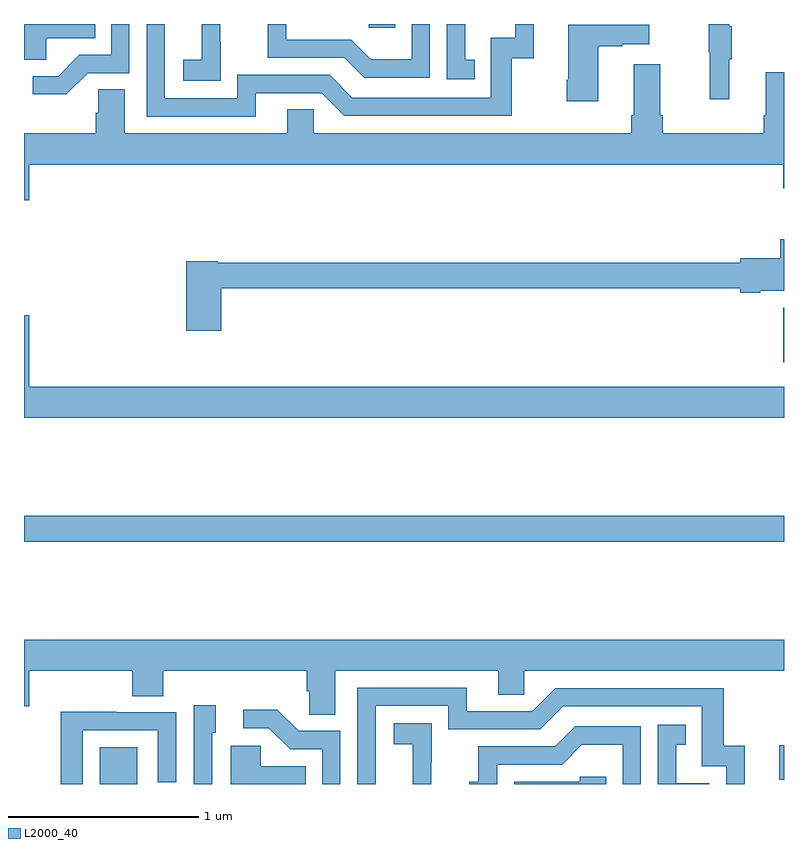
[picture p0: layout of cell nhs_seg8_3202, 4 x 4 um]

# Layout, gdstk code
import gdstk
lib = gdstk.Library(unit=1e-6, precision=1e-09)
def R(c, l, rs):  # rectangles x0, y0, x1, y1
    for r in rs: c.add(gdstk.rectangle(r[:2], r[2:], *l))
def P(c, l, *ps):  # polygons
    for p in ps: c.add(gdstk.Polygon(p, *l))
L2000_40 = (2000, 40)

nhs_seg8_3202 = lib.new_cell('nhs_seg8_3202')
R(nhs_seg8_3202, L2000_40, [(309.398,1119.9,309.595,1120.093), (312.974,1119.923,313,1120.105), (309,1121.176,313,1121.312), (312.995,1122.12,313,1122.406), (310.815,1123.881,310.955,1123.9)])
P(nhs_seg8_3202, L2000_40, [(309.336,1123.641),(309.555,1123.641),(309.555,1123.9),(309.459,1123.9),(309.459,1123.737),(309.29,1123.737),(309.179,1123.626),(309.045,1123.626),(309.045,1123.529),(309.223,1123.529)],
  [(311.372,1123.713),(311.323,1123.713),(311.323,1123.9),(311.226,1123.9),(311.226,1123.608),(311.372,1123.608)],
  [(312.713,1123.715),(312.724,1123.715),(312.724,1123.889),(312.713,1123.889),(312.713,1123.9),(312.603,1123.9),(312.603,1123.752),(312.61,1123.752),(312.61,1123.503),(312.713,1123.503)],
  [(310.219,1123.536),(310.566,1123.536),(310.686,1123.416),(311.566,1123.416),(311.566,1123.719),(311.684,1123.719),(311.684,1123.9),(311.586,1123.9),(311.586,1123.827),(311.457,1123.827),(311.457,1123.512),(310.728,1123.512),(310.608,1123.632),(310.122,1123.632),(310.122,1123.509),(309.741,1123.509),(309.741,1123.9),(309.645,1123.9),(309.645,1123.413),(310.219,1123.413)],
  [(309.117,1123.826),(309.374,1123.826),(309.374,1123.9),(309,1123.9),(309,1123.711),(309.117,1123.711)],
  [(310.035,1123.807),(310.034,1123.807),(310.034,1123.9),(309.935,1123.9),(309.935,1123.711),(309.837,1123.711),(309.837,1123.601),(310.035,1123.601)],
  [(311.136,1123.9),(311.04,1123.9),(311.04,1123.714),(310.826,1123.714),(310.722,1123.818),(310.38,1123.818),(310.38,1123.9),(310.282,1123.9),(310.282,1123.722),(310.685,1123.722),(310.79,1123.617),(311.136,1123.617)],
  [(312.022,1123.783),(312.149,1123.783),(312.149,1123.793),(312.292,1123.793),(312.292,1123.897),(311.864,1123.897),(311.864,1123.606),(311.857,1123.606),(311.857,1123.494),(312.022,1123.494)],
  [(312.209,1123.687),(312.209,1123.42),(312.197,1123.42),(312.197,1123.324),(310.524,1123.324),(310.524,1123.451),(310.385,1123.451),(310.385,1123.324),(309.529,1123.324),(309.529,1123.556),(309.39,1123.556),(309.39,1123.433),(309.377,1123.433),(309.377,1123.324),(309,1123.324),(309,1122.972),(309.028,1122.972),(309.028,1123.16),(312.995,1123.16),(312.995,1123.036),(313,1123.036),(313,1123.645),(312.905,1123.645),(312.905,1123.42),(312.893,1123.42),(312.893,1123.324),(312.362,1123.324),(312.362,1123.42),(312.349,1123.42),(312.349,1123.687)],
  [(310.037,1122.508),(312.77,1122.508),(312.77,1122.485),(312.874,1122.485),(312.874,1122.497),(313,1122.497),(313,1122.766),(312.98,1122.766),(312.98,1122.668),(312.77,1122.668),(312.77,1122.644),(310.02,1122.644),(310.02,1122.652),(309.854,1122.652),(309.854,1122.285),(310.037,1122.285)],
  [(313,1121.992),(309.028,1121.992),(309.028,1122.367),(309,1122.367),(309,1121.828),(313,1121.828)],
  [(310.639,1120.496),(311.495,1120.496),(311.495,1120.369),(311.634,1120.369),(311.634,1120.496),(313,1120.496),(313,1120.66),(309,1120.66),(309,1120.308),(309.028,1120.308),(309.028,1120.496),(309.569,1120.496),(309.569,1120.363),(309.734,1120.363),(309.734,1120.496),(310.487,1120.496),(310.487,1120.387),(310.5,1120.387),(310.5,1120.264),(310.639,1120.264)],
  [(310.851,1120.311),(311.232,1120.311),(311.232,1120.188),(311.718,1120.188),(311.838,1120.308),(312.567,1120.308),(312.567,1119.993),(312.696,1119.993),(312.696,1119.9),(312.794,1119.9),(312.794,1120.102),(312.683,1120.102),(312.683,1120.404),(311.796,1120.404),(311.676,1120.284),(311.329,1120.284),(311.329,1120.407),(310.755,1120.407),(310.755,1119.9),(310.851,1119.9)],
  [(309.99,1120.17),(310.009,1120.17),(310.009,1120.315),(309.894,1120.315),(309.894,1119.9),(309.99,1119.9)],
  [(310.665,1120.179),(310.446,1120.179),(310.333,1120.292),(310.155,1120.292),(310.155,1120.194),(310.289,1120.194),(310.4,1120.083),(310.569,1120.083),(310.569,1119.9),(310.665,1119.9)],
  [(309.309,1120.182),(309.705,1120.182),(309.705,1119.909),(309.801,1119.909),(309.801,1120.278),(309.485,1120.278),(309.485,1120.28),(309.193,1120.28),(309.193,1119.9),(309.309,1119.9)],
  [(311.144,1120.013),(311.145,1120.013),(311.145,1120.219),(310.947,1120.219),(310.947,1120.109),(311.045,1120.109),(311.045,1119.9),(311.144,1119.9)],
  [(312.606,1119.903),(312.433,1119.903),(312.433,1120.107),(312.482,1120.107),(312.482,1120.213),(312.336,1120.213),(312.336,1119.9),(312.606,1119.9)],
  [(311.49,1120.002),(311.832,1120.002),(311.936,1120.106),(312.15,1120.106),(312.15,1119.9),(312.246,1119.9),(312.246,1120.203),(311.9,1120.203),(311.795,1120.098),(311.392,1120.098),(311.392,1119.913),(311.343,1119.913),(311.343,1119.9),(311.49,1119.9)],
  [(310.484,1119.994),(310.245,1119.994),(310.245,1120.102),(310.088,1120.102),(310.088,1119.9),(310.484,1119.9)],
  [(312.065,1119.939),(311.925,1119.939),(311.925,1119.912),(311.58,1119.912),(311.58,1119.9),(312.065,1119.9)])

lib.write_gds('nhs_seg8_3202.gds')
